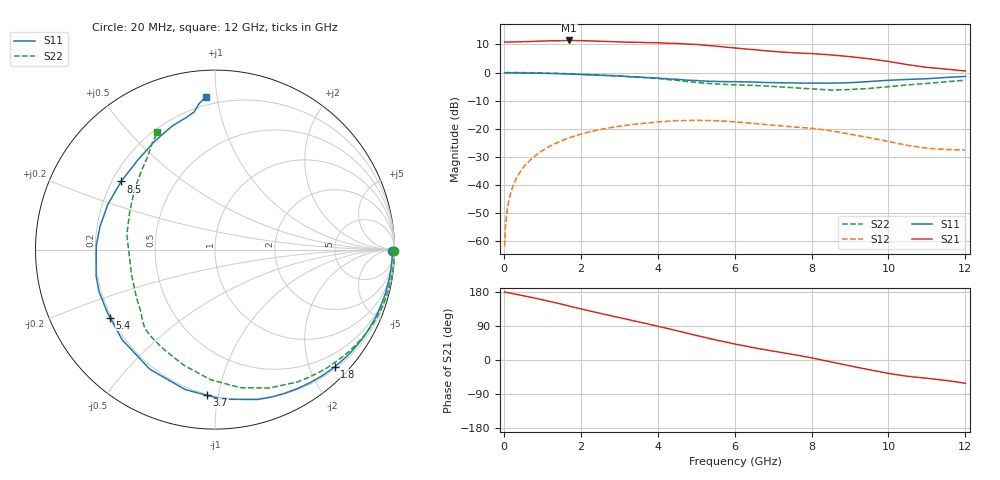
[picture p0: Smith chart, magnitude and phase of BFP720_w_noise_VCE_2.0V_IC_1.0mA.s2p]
! Infineon Technologies  Discrete & RF Semiconductors
! BFP720
! VCE =  2.0 V,  IC =  1.0 mA
! Common Emitter S-Parameters:  Aug 2012
# GHz  S  MA  R  50
!  f  S11  S21  S12  S22
! GHz  MAG  ANG  MAG  ANG  MAG  ANG  MAG  ANG
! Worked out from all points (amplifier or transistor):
!   104 points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, 20 MHz to 12 GHz, reference 50 ohm
!   highest |S21| = 11.4 dB at 1.7 GHz (marker M1)
!   |S21| within 3 dB of that: start of sweep to 6.259 GHz
!   unconditionally stable (mu >= 1): 8.321 GHz to 11.99 GHz
!   at 350 MHz: K = 0.00, MSG = 24.0 dB, |S12| = -37.1 dB
!   at 3.7 GHz: K = 0.25, MSG = 14.4 dB, |S12| = -18.0 dB
!   at 12 GHz: K = 0.99, MSG = 14.1 dB, |S12| = -27.7 dB
!   lowest NFmin = 0.50 dB at 450 MHz
!   S11 on the Smith chart (normalised r, x): 20 MHz: open; 1.8 GHz: 0.24, -2.43; 3.7 GHz: 0.19, -0.93; 5.4 GHz: 0.19, -0.29; 8.5 GHz: 0.24, +0.31; 12 GHz: 0.15, +0.93
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0.02  0.9875 -0.4  3.496 179.3  0.0008 109.7  0.9995 -0.3
0.06  0.9871 -1.4  3.5 178.5  0.0024 88.9  0.9987 -1.2
0.12  0.9878 -2.7  3.501 177.4  0.0048 88.7  0.9994 -2.3
0.35  0.9845 -7.9  3.525 172.8  0.014 84.5  0.9976 -6.5
0.7  0.9784 -16.1  3.572 165.5  0.0281 77.9  0.9916 -13.2
1.1  0.9661 -26.1  3.657 156.7  0.0445 70.2  0.9809 -21.0
1.7  0.9386 -41.8  3.73 142.3  0.0684 57.7  0.9504 -33.0
1.8  0.9333 -44.4  3.722 139.8  0.0721 55.6  0.9444 -35.0
2.1  0.9156 -52.1  3.682 132.6  0.0828 49.1  0.925 -40.9
2.8  0.8787 -69.4  3.559 116.4  0.1046 34.8  0.8803 -54.5
3.7  0.8132 -93.1  3.42 96.1  0.1254 16.7  0.8067 -72.7
4.1  0.7846 -105.2  3.366 86.8  0.1328 8.8  0.7687 -81.8
4.5  0.759 -118.6  3.305 77.2  0.1386 0.7  0.7261 -91.8
5  0.7212 -135.8  3.174 64.8  0.1408 -9.9  0.6682 -104.9
5.4  0.6965 -147.0  2.995 55.4  0.1387 -17.9  0.6326 -114.0
6.1  0.6847 -161.6  2.704 40.3  0.1306 -30.6  0.6 -126.6
7  0.6619 178.1  2.38 23.4  0.1146 -43.2  0.5647 -135.7
8  0.648 157.2  2.178 5.6  0.1013 -54.7  0.5115 -149.0
8.5  0.6463 144.0  2.065 -4.9  0.0914 -61.6  0.4858 -163.2
9.5  0.6904 119.3  1.755 -25.6  0.0686 -68.8  0.5198 156.1
10.5  0.7531 102.3  1.379 -43.1  0.05 -67.5  0.6008 133.0
12  0.8515 93.5  1.065 -61.4  0.0414 -51.4  0.7294 116.1
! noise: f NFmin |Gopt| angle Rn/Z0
0.45  0.5  0.77  6  0.47
1.8  0.64  0.73  31  0.38
2.4  0.76  0.64  82  0.29
5.5  1.17  0.53  99  0.14
10  1.87  0.55  -118  0.28
